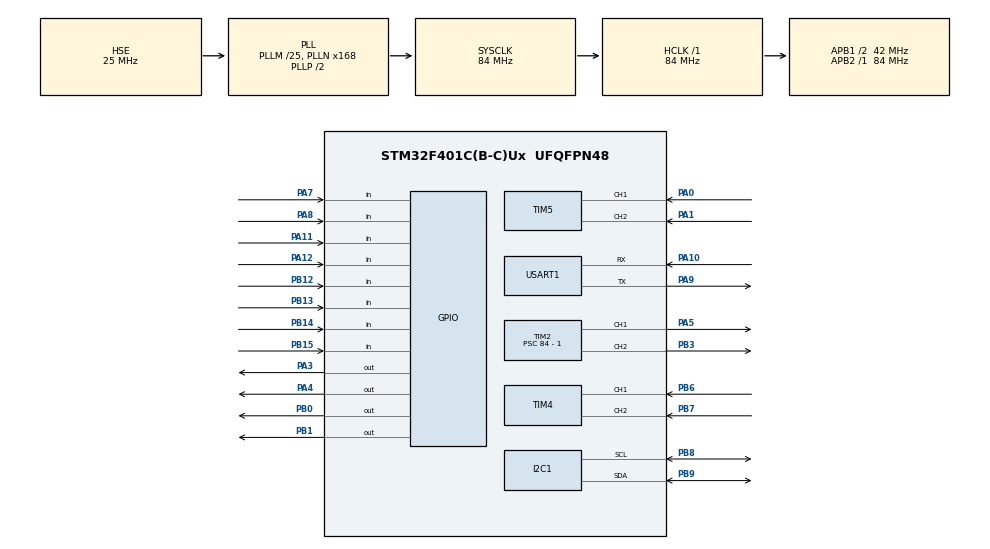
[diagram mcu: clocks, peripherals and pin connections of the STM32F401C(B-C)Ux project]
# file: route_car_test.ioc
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Mcu.Family=STM32F4
Mcu.Name=STM32F401C(B-C)Ux
Mcu.Package=UFQFPN48
NVIC.PriorityGroup=NVIC_PRIORITYGROUP_4
NVIC.TIM1_BRK_TIM9_IRQn=true\:0\:0\:false\:false\:true\:true\:true\:true
NVIC.USART1_IRQn=true\:0\:0\:false\:false\:true\:true\:true\:true
PA0-WKUP.Signal=S_TIM5_CH1
PA1.Signal=S_TIM5_CH2
PA10.Mode=Asynchronous
PA10.Signal=USART1_RX
PA11.GPIO_PuPd=GPIO_PULLUP
PA11.Signal=GPIO_Input
PA12.GPIO_PuPd=GPIO_PULLUP
PA12.Signal=GPIO_Input
PA13.Mode=Serial_Wire
PA13.Signal=SYS_JTMS-SWDIO
PA14.Mode=Serial_Wire
PA14.Signal=SYS_JTCK-SWCLK
PA3.PinState=GPIO_PIN_RESET
PA3.Signal=GPIO_Output
PA4.PinState=GPIO_PIN_RESET
PA4.Signal=GPIO_Output
PA5.Signal=S_TIM2_CH1_ETR
PA7.GPIO_PuPd=GPIO_PULLUP
PA7.Signal=GPIO_Input
PA8.GPIO_PuPd=GPIO_PULLUP
PA8.Signal=GPIO_Input
PA9.Mode=Asynchronous
PA9.Signal=USART1_TX
PB0.PinState=GPIO_PIN_RESET
PB0.Signal=GPIO_Output
PB1.PinState=GPIO_PIN_RESET
PB1.Signal=GPIO_Output
PB12.GPIO_PuPd=GPIO_PULLUP
PB12.Signal=GPIO_Input
PB13.GPIO_PuPd=GPIO_PULLUP
PB13.Signal=GPIO_Input
PB14.GPIO_PuPd=GPIO_PULLUP
PB14.Signal=GPIO_Input
PB15.GPIO_PuPd=GPIO_PULLUP
PB15.Signal=GPIO_Input
PB3.Signal=S_TIM2_CH2
PB6.Signal=S_TIM4_CH1
PB7.Signal=S_TIM4_CH2
PB8.Mode=I2C
PB8.Signal=I2C1_SCL
PB9.Mode=I2C
PB9.Signal=I2C1_SDA
PC14-OSC32_IN.Mode=LSE-External-Oscillator
PC14-OSC32_IN.Signal=RCC_OSC32_IN
PC15-OSC32_OUT.Mode=LSE-External-Oscillator
PC15-OSC32_OUT.Signal=RCC_OSC32_OUT
PH0\ -\ OSC_IN.Mode=HSE-External-Oscillator
PH0\ -\ OSC_IN.Signal=RCC_OSC_IN
PH1\ -\ OSC_OUT.Mode=HSE-External-Oscillator
PH1\ -\ OSC_OUT.Signal=RCC_OSC_OUT
ProjectManager.HeapSize=0x200
ProjectManager.StackSize=0x400
ProjectManager.TargetToolchain=MDK-ARM V5.32
RCC.48MHZClocksFreq_Value=42000000
RCC.AHBFreq_Value=84000000
RCC.APB1CLKDivider=RCC_HCLK_DIV2
RCC.APB1Freq_Value=42000000
RCC.APB1TimFreq_Value=84000000
RCC.APB2Freq_Value=84000000
RCC.APB2TimFreq_Value=84000000
RCC.CortexFreq_Value=84000000
RCC.HCLKFreq_Value=84000000
RCC.HSE_VALUE=25000000
RCC.HSI_VALUE=16000000
RCC.PLLM=25
RCC.PLLN=168
RCC.PLLSourceVirtual=RCC_PLLSOURCE_HSE
RCC.SYSCLKFreq_VALUE=84000000
RCC.SYSCLKSource=RCC_SYSCLKSOURCE_PLLCLK
RCC.VCOOutputFreq_Value=168000000
SH.S_TIM2_CH1_ETR.0=TIM2_CH1,PWM Generation1 CH1
SH.S_TIM2_CH2.0=TIM2_CH2,PWM Generation2 CH2
SH.S_TIM4_CH1.0=TIM4_CH1,Encoder_Interface
SH.S_TIM4_CH2.0=TIM4_CH2,Encoder_Interface
SH.S_TIM5_CH1.0=TIM5_CH1,Encoder_Interface
SH.S_TIM5_CH2.0=TIM5_CH2,Encoder_Interface
TIM2.Channel-PWM\ Generation1\ CH1=TIM_CHANNEL_1
TIM2.Channel-PWM\ Generation2\ CH2=TIM_CHANNEL_2
TIM2.Period=1000 - 1
TIM2.Prescaler=84 - 1
TIM4.EncoderMode=TIM_ENCODERMODE_TI12
TIM4.IC1Filter=15
TIM4.IC2Filter=15
TIM5.EncoderMode=TIM_ENCODERMODE_TI12
TIM5.IC1Filter=15
TIM5.IC2Filter=15
TIM9.Period=1000 - 1
TIM9.Prescaler=84 - 1
USART1.VirtualMode=VM_ASYNC
VP_TIM9_VS_ClockSourceINT.Mode=Internal
board=custom

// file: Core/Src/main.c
/* USER CODE BEGIN Header */
/**
  ******************************************************************************
  * @file           : main.c
  * @brief          : Main program body
  ******************************************************************************
  * @attention
  *
  * Copyright (c) 2025 STMicroelectronics.
  * All rights reserved.
  *
  * This software is licensed under terms that can be found in the LICENSE file
  * in the root directory of this software component.
  * If no LICENSE file comes with this software, it is provided AS-IS.
  *
  ******************************************************************************
  */
/* USER CODE END Header */
#include "main.h"
#include "i2c.h"
#include "tim.h"
#include "usart.h"
#include "gpio.h"

/* USER CODE BEGIN Includes */
#include "oled.h"
#include "motor.h"
#include "key.h"
#include "stdio.h"
#include "route.h"
#include "pid.h"
#include "control.h"
/* USER CODE END Includes */

/* USER CODE BEGIN PV */
char oled_message[20] = {0};
char uart_message[2] = {0,0};//启停标志位（012），转向选择
uint8_t Move_Flag = 0;//0：待机，1：开启，2：停止
extern int TurnChoose[5];//路口行动选择，由串口数据修
uint8_t i = 0;
/* USER CODE END PV */

void SystemClock_Config(void);

int main(void)
{

  /* MCU Configuration--------------------------------------------------------*/

  /* Reset of all peripherals, Initializes the Flash interface and the Systick. */
  HAL_Init();

  /* Configure the system clock */
  SystemClock_Config();

  /* Initialize all configured peripherals */
  MX_GPIO_Init();
  MX_I2C1_Init();
  MX_TIM2_Init();
  MX_TIM4_Init();
  MX_TIM5_Init();
  MX_USART1_UART_Init();
  MX_TIM9_Init();
  /* USER CODE BEGIN 2 */
	HAL_TIM_Base_Start_IT(&htim9);
	OLED_Init();
	Motor_Init();

  /* USER CODE END 2 */

  /* Infinite loop */
  /* USER CODE BEGIN WHILE */
	uint8_t KeyNum = 0;//存建值，模拟放取药

  Key_Open();//按键打开
	Get_Encoder_Open();

	HAL_UART_Receive_IT(&huart1,(uint8_t *)uart_message,2);

  while (1)
  {

		OLED_NewFrame();
		sprintf(oled_message,"M:%d",Move_Flag);
		OLED_PrintASCIIString(0,0,oled_message,&afont12x6,OLED_COLOR_NORMAL);
		sprintf(oled_message,"T1:%d",TurnChoose[0]);
		OLED_PrintASCIIString(0,17,oled_message,&afont12x6,OLED_COLOR_NORMAL);
		sprintf(oled_message,"T2:%d",TurnChoose[1]);
		OLED_PrintASCIIString(60,17,oled_message,&afont12x6,OLED_COLOR_NORMAL);
		sprintf(oled_message,"T3:%d",TurnChoose[2]);
		OLED_PrintASCIIString(0,34,oled_message,&afont12x6,OLED_COLOR_NORMAL);
		sprintf(oled_message,"T4:%d",TurnChoose[3]);
		OLED_PrintASCIIString(60,34,oled_message,&afont12x6,OLED_COLOR_NORMAL);
		OLED_ShowFrame();

		KeyNum = Key_GetNum();
		if(KeyNum == 1)
		{
			Move_Flag = 1;//启动标志位，可以被串口数据改变
		}
		if(Move_Flag == 1)
		{
			Route_Open();
			Pid_Open(200);
			Move_Flag = 0;//清空标志位
		}
		if(Move_Flag == 2)
		{
			Pid_Close();
			Route_Close();
			Move_Flag = 0;//清空标志位
		}
		if(Turn_Flag == 1)
		{
			turn_process();//调用处理函数
			Turn_Flag = 0;//清空标志位
		}
    /* USER CODE END WHILE */

  }
}

void SystemClock_Config(void)
{
  RCC_OscInitTypeDef RCC_OscInitStruct = {0};
  RCC_ClkInitTypeDef RCC_ClkInitStruct = {0};

  /** Configure the main internal regulator output voltage
  */
  __HAL_RCC_PWR_CLK_ENABLE();
  __HAL_PWR_VOLTAGESCALING_CONFIG(PWR_REGULATOR_VOLTAGE_SCALE2);

  /** Initializes the RCC Oscillators according to the specified parameters
  * in the RCC_OscInitTypeDef structure.
  */
  RCC_OscInitStruct.OscillatorType = RCC_OSCILLATORTYPE_HSE;
  RCC_OscInitStruct.HSEState = RCC_HSE_ON;
  RCC_OscInitStruct.PLL.PLLState = RCC_PLL_ON;
  RCC_OscInitStruct.PLL.PLLSource = RCC_PLLSOURCE_HSE;
  RCC_OscInitStruct.PLL.PLLM = 25;
  RCC_OscInitStruct.PLL.PLLN = 168;
  RCC_OscInitStruct.PLL.PLLP = RCC_PLLP_DIV2;
  RCC_OscInitStruct.PLL.PLLQ = 4;
  if (HAL_RCC_OscConfig(&RCC_OscInitStruct) != HAL_OK)
  {
    Error_Handler();
  }

  /** Initializes the CPU, AHB and APB buses clocks
  */
  RCC_ClkInitStruct.ClockType = RCC_CLOCKTYPE_HCLK|RCC_CLOCKTYPE_SYSCLK
                              |RCC_CLOCKTYPE_PCLK1|RCC_CLOCKTYPE_PCLK2;
  RCC_ClkInitStruct.SYSCLKSource = RCC_SYSCLKSOURCE_PLLCLK;
  RCC_ClkInitStruct.AHBCLKDivider = RCC_SYSCLK_DIV1;
  RCC_ClkInitStruct.APB1CLKDivider = RCC_HCLK_DIV2;
  RCC_ClkInitStruct.APB2CLKDivider = RCC_HCLK_DIV1;

  if (HAL_RCC_ClockConfig(&RCC_ClkInitStruct, FLASH_LATENCY_2) != HAL_OK)
  {
    Error_Handler();
  }
}

/* USER CODE BEGIN 4 */
void HAL_TIM_PeriodElapsedCallback(TIM_HandleTypeDef *htim)//定时器回调函数
{
	if (htim->Instance == TIM9)
	{
    Key_Tick();
		Get_Route_Error_Tick();
		Get_Encoder_Tick();
		Pid_Controller_Tick();
  }
}

void HAL_UART_RxCpltCallback(UART_HandleTypeDef *huart)//串口中断回调
{
	if(huart == &huart1)
	{
		if(uart_message[0] == '0')
		{
			Move_Flag = 0;
		}
		if(uart_message[0] == '1')
		{
			Move_Flag = 1;
		}
		if(uart_message[0] == '2')
		{
			Move_Flag = 2;
		}
		if(uart_message[1] == '0')
		{
			TurnChoose[i] = 0;
		}
		if(uart_message[1] == '1')
		{
			TurnChoose[i] = 1;
		}
		if(uart_message[1] == '2')
		{
			TurnChoose[i] = 2;
		}
		i++;
//		HAL_UART_Transmit(&huart1,(uint8_t*)uart_message,2,HAL_MAX_DELAY);
		HAL_UART_Receive_IT(&huart1,(uint8_t *)uart_message,2);
	}
}

/* USER CODE END 4 */

void Error_Handler(void)
{
  __disable_irq();
  while (1)
  {
  }
}
